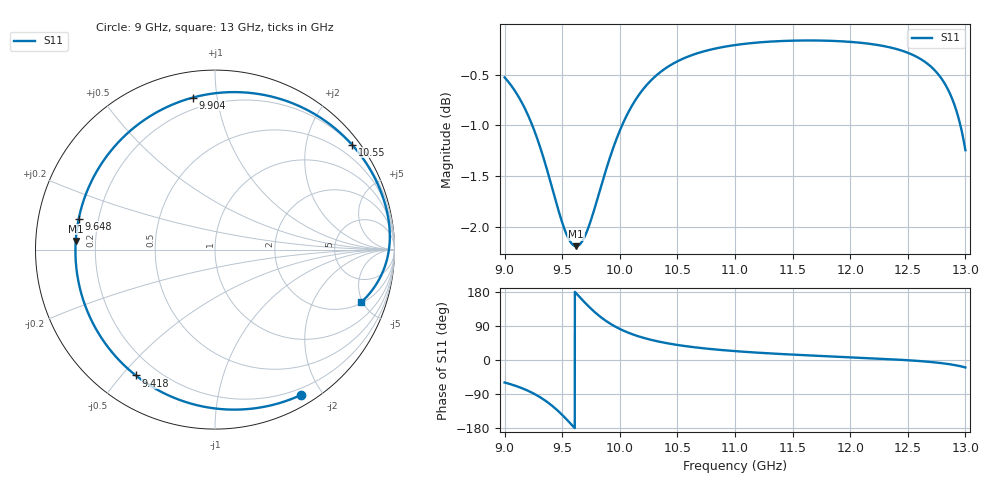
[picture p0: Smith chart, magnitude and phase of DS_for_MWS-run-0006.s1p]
! TOUCHSTONE file generated by CST DESIGN STUDIO
! Date and time: Tue Feb  4 16:08:43 2025
! Project name: C:\Work\MatlabApps\UnitCellOptimizationMatlab\CST\unitcell.cst
! Tree item: Tasks\Sweep1\SPara1\S-Parameters
! Header version: 2024
! Port assignment regex: !\s*Touchstone port\s*([0-9]+)\s*=\s*(CST MWS port|CST DES external port|CST DES block port)\s*(.+)\s* \(\"(.*)\"\)(\s*mode\s*([0-9]+))?.*
! Touchstone port assignment:
! Touchstone port 1 = CST DES external port 1 ("")
# GHz S MA R 50
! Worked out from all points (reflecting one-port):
!   4001 points, 9 GHz to 13 GHz, reference 50 ohm
!   lowest |S11| = -2.2 dB at 9.62 GHz (marker M1), VSWR 7.99, Z = 6.27 + j1.51 ohm
!   phase of S11 starts at -59 deg and turns -320 deg over the sweep
!   S11 on the Smith chart (normalised r, x): 9 GHz: 0.12, -1.75; 9.418 GHz: 0.12, -0.55; 9.648 GHz: 0.13, +0.11; 9.904 GHz: 0.13, +0.85; 10.55 GHz: 0.19, +2.94; 13 GHz: 2.09, -4.90
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9  0.9411 -59.4
9.128  0.9193 -71.8
9.256  0.8867 -89.1
9.342  0.8576 -104.9
9.418  0.8284 -122.2
9.459  0.8127 -133.0
9.5  0.7985 -144.9
9.562  0.7828 -164.3
9.62  0.7774 176.5
9.648  0.7786 167.2
9.707  0.7886 148.3
9.777  0.8099 127.9
9.838  0.8321 112.5
9.904  0.8559 98.4
10  0.886 82.0
10.105  0.9113 68.4
10.219  0.931 57.4
10.349  0.9464 47.9
10.5  0.9583 39.7
10.55  0.9613 37.5
10.751  0.97 30.1
11  0.9761 23.4
11.5  0.981 14.2
12  0.9797 7.2
12.5  0.9677 -0.6
12.813  0.936 -9.0
12.911  0.9102 -13.6
13  0.8667 -19.7
